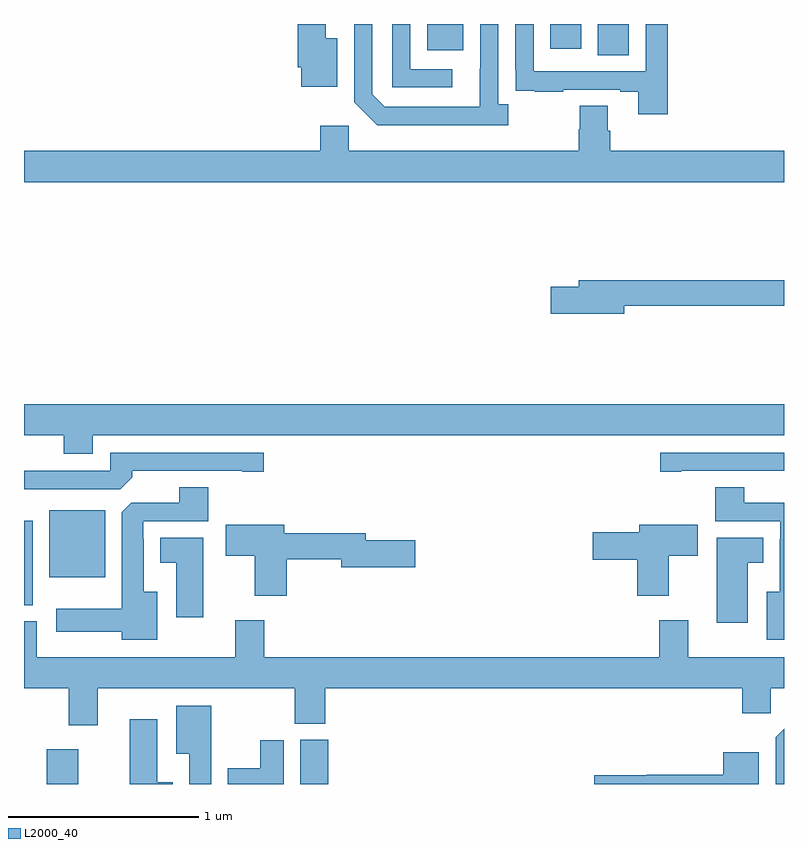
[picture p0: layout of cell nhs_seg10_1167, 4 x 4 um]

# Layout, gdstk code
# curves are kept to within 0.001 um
import gdstk
lib = gdstk.Library(unit=1e-6, precision=1e-09)
def R(c, l, rs):  # rectangles x0, y0, x1, y1
    for r in rs: c.add(gdstk.rectangle(r[:2], r[2:], *l))
def P(c, l, *ps):  # polygons
    for p in ps: c.add(gdstk.Polygon(p, *l))
L2000_40 = (2000, 40)

nhs_seg10_1167 = lib.new_cell('nhs_seg10_1167')
R(nhs_seg10_1167, L2000_40, [(171.119,1278.5,171.286,1278.682), (172.454,1278.5,172.601,1278.732), (171,1279.442,171.046,1279.885), (171.134,1279.589,171.427,1279.942), (174.02,1282.336,174.184,1282.5), (173.123,1282.361,173.311,1282.5), (173.771,1282.371,173.932,1282.5)])
P(nhs_seg10_1167, L2000_40, [(174.389,1282.5),(174.273,1282.5),(174.273,1282.251),(173.682,1282.251),(173.682,1282.5),(173.586,1282.5),(173.586,1282.258),(173.587,1282.258),(173.587,1282.149),(173.689,1282.149),(173.689,1282.143),(173.837,1282.143),(173.837,1282.155),(174.137,1282.155),(174.137,1282.143),(174.233,1282.143),(174.233,1282.026),(174.389,1282.026)],
  [(173.254,1282.263),(173.034,1282.263),(173.034,1282.5),(172.938,1282.5),(172.938,1282.167),(173.254,1282.167)],
  [(172.648,1282.426),(172.588,1282.426),(172.588,1282.5),(172.441,1282.5),(172.441,1282.273),(172.46,1282.273),(172.46,1282.169),(172.648,1282.169)],
  [(173.548,1282.078),(173.496,1282.078),(173.496,1282.5),(173.4,1282.5),(173.399,1282.065),(172.899,1282.065),(172.833,1282.131),(172.833,1282.5),(172.737,1282.5),(172.737,1282.089),(172.858,1281.968),(173.548,1281.968)],
  [(175,1281.832),(174.086,1281.832),(174.086,1281.938),(174.073,1281.938),(174.073,1282.07),(173.926,1282.07),(173.926,1281.945),(173.921,1281.945),(173.921,1281.832),(172.71,1281.832),(172.71,1281.964),(172.559,1281.964),(172.559,1281.832),(171,1281.832),(171,1281.668),(175,1281.668)],
  [(174.16,1281.016),(175,1281.016),(175,1281.152),(173.921,1281.152),(173.921,1281.116),(173.772,1281.116),(173.772,1280.974),(174.16,1280.974)],
  [(171.361,1280.336),(175,1280.336),(175,1280.5),(171,1280.5),(171,1280.336),(171.209,1280.336),(171.209,1280.237),(171.361,1280.237)],
  [(171.569,1280.114),(171.569,1280.148),(172.148,1280.148),(172.148,1280.143),(172.261,1280.143),(172.261,1280.244),(171.453,1280.244),(171.453,1280.148),(171,1280.148),(171,1280.052),(171.507,1280.052)],
  [(174.46,1280.148),(175,1280.148),(175,1280.244),(174.348,1280.244),(174.348,1280.143),(174.46,1280.143)],
  [(175,1279.98),(174.79,1279.98),(174.79,1280.063),(174.638,1280.063),(174.638,1279.884),(174.981,1279.884),(174.981,1279.787),(174.977,1279.787),(174.977,1279.513),(174.908,1279.513),(174.908,1279.259),(175,1279.259)],
  [(171.7,1279.513),(171.631,1279.513),(171.631,1279.787),(171.627,1279.787),(171.627,1279.884),(171.971,1279.884),(171.971,1280.063),(171.818,1280.063),(171.818,1279.98),(171.564,1279.98),(171.515,1279.931),(171.515,1279.423),(171.171,1279.423),(171.171,1279.301),(171.515,1279.301),(171.515,1279.259),(171.7,1279.259)],
  [(174.394,1279.702),(174.547,1279.702),(174.547,1279.864),(174.239,1279.864),(174.239,1279.826),(173.994,1279.826),(173.994,1279.679),(174.227,1279.679),(174.227,1279.491),(174.394,1279.491)],
  [(172.382,1279.684),(172.67,1279.684),(172.67,1279.642),(173.059,1279.642),(173.059,1279.784),(172.798,1279.784),(172.798,1279.82),(172.369,1279.82),(172.369,1279.864),(172.062,1279.864),(172.062,1279.702),(172.214,1279.702),(172.214,1279.491),(172.382,1279.491)],
  [(171.943,1279.795),(171.716,1279.795),(171.716,1279.664),(171.8,1279.664),(171.8,1279.377),(171.943,1279.377)],
  [(174.808,1279.664),(174.892,1279.664),(174.892,1279.795),(174.647,1279.795),(174.647,1279.35),(174.808,1279.35)],
  [(171.388,1279.004),(172.426,1279.004),(172.426,1278.817),(172.586,1278.817),(172.586,1279.004),(174.779,1279.004),(174.779,1278.873),(174.93,1278.873),(174.93,1279.004),(175,1279.004),(175,1279.168),(174.496,1279.168),(174.496,1279.363),(174.344,1279.363),(174.344,1279.168),(172.265,1279.168),(172.265,1279.363),(172.112,1279.363),(172.112,1279.168),(171.067,1279.168),(171.067,1279.357),(171,1279.357),(171,1279.004),(171.236,1279.004),(171.236,1278.81),(171.388,1278.81)],
  [(171.985,1278.913),(171.8,1278.913),(171.8,1278.659),(171.869,1278.659),(171.869,1278.5),(171.985,1278.5)],
  [(171.784,1278.508),(171.7,1278.508),(171.7,1278.841),(171.557,1278.841),(171.557,1278.5),(171.784,1278.5)],
  [(175,1278.79),(174.957,1278.747),(174.957,1278.5),(175,1278.5)],
  [(172.366,1278.73),(172.244,1278.73),(172.244,1278.583),(172.073,1278.583),(172.073,1278.5),(172.366,1278.5)],
  [(174.868,1278.667),(174.68,1278.667),(174.68,1278.55),(174.278,1278.55),(174.278,1278.546),(174.002,1278.546),(174.002,1278.5),(174.868,1278.5)])

lib.write_gds('nhs_seg10_1167.gds')
